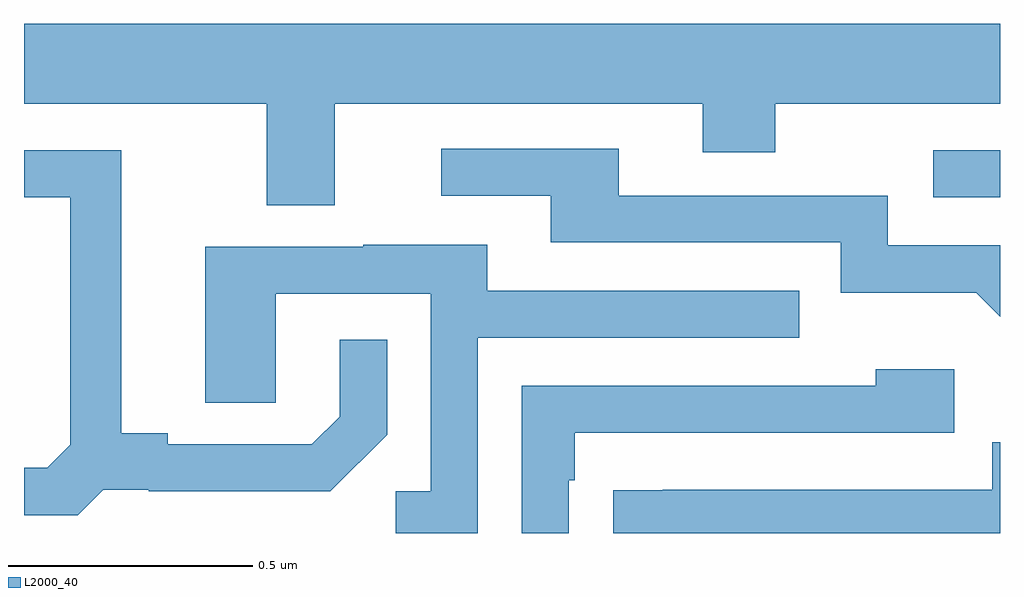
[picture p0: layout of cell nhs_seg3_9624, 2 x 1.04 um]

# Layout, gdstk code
import gdstk
lib = gdstk.Library(unit=1e-6, precision=1e-09)
def R(c, l, rs):  # rectangles x0, y0, x1, y1
    for r in rs: c.add(gdstk.rectangle(r[:2], r[2:], *l))
def P(c, l, *ps):  # polygons
    for p in ps: c.add(gdstk.Polygon(p, *l))
L2000_40 = (2000, 40)

nhs_seg3_9624 = lib.new_cell('nhs_seg3_9624')
R(nhs_seg3_9624, L2000_40, [(232.863,670.089,233,670.185)])
P(nhs_seg3_9624, L2000_40, [(231.637,670.28),(232.391,670.28),(232.391,670.181),(232.539,670.181),(232.539,670.28),(233,670.28),(233,670.444),(231,670.444),(231,670.28),(231.497,670.28),(231.497,670.072),(231.637,670.072)],
  [(233,669.99),(232.77,669.99),(232.77,670.092),(232.219,670.092),(232.219,670.188),(231.855,670.188),(231.855,670.092),(232.079,670.092),(232.079,669.996),(232.674,669.996),(232.674,669.893),(232.951,669.893),(233,669.844)],
  [(231.162,669.489),(231.256,669.489),(231.256,669.486),(231.628,669.486),(231.744,669.602),(231.744,669.796),(231.647,669.796),(231.647,669.639),(231.59,669.582),(231.295,669.582),(231.295,669.605),(231.199,669.605),(231.199,670.185),(231,670.185),(231,670.089),(231.095,670.089),(231.095,669.581),(231.048,669.534),(231,669.534),(231,669.437),(231.11,669.437)],
  [(231.93,669.801),(232.589,669.801),(232.589,669.897),(231.949,669.897),(231.949,669.991),(231.695,669.991),(231.695,669.987),(231.371,669.987),(231.371,669.667),(231.516,669.667),(231.516,669.891),(231.834,669.891),(231.834,669.486),(231.762,669.486),(231.762,669.4),(231.93,669.4)],
  [(232.116,669.509),(232.129,669.509),(232.129,669.606),(232.906,669.606),(232.906,669.736),(232.745,669.736),(232.745,669.702),(232.02,669.702),(232.02,669.4),(232.116,669.4)],
  [(233,669.586),(232.984,669.586),(232.984,669.489),(232.309,669.489),(232.309,669.488),(232.207,669.488),(232.207,669.4),(233,669.4)])

lib.write_gds('nhs_seg3_9624.gds')
